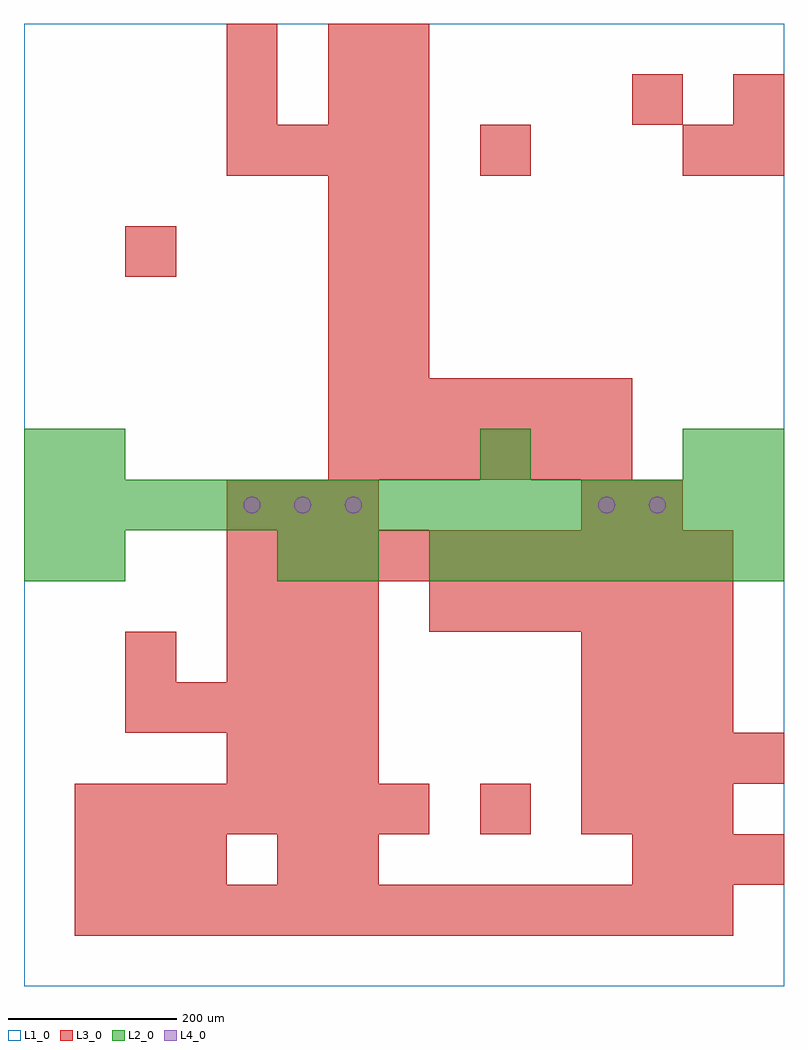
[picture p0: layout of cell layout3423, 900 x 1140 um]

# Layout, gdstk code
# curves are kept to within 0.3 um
import gdstk
lib = gdstk.Library(unit=1e-6, precision=1e-09)
def R(c, l, rs):  # rectangles x0, y0, x1, y1
    for r in rs: c.add(gdstk.rectangle(r[:2], r[2:], *l))
def A(c, l, x, y, w, h, nx, ny, dx, dy):  # array of equal rectangles
    R(c, l, [(x+i*dx, y+j*dy, x+i*dx+w, y+j*dy+h) for i in range(nx) for j in range(ny)])
def P(c, l, *ps):  # polygons
    for p in ps: c.add(gdstk.Polygon(p, *l))
L1_0 = (1, 0)
L2_0 = (2, 0)
L3_0 = (3, 0)
L4_0 = (4, 0)

layout3423 = lib.new_cell('layout3423')
R(layout3423, L1_0, [(0,0,900,1140)])
A(layout3423, L2_0, 480, 480, 60, 60, 7, 1, 60, 0)
A(layout3423, L2_0, 0, 540, 60, 60, 15, 1, 60, 0)
R(layout3423, L2_0, [(0,480,60,540), (60,480,120,540), (300,480,360,540), (360,480,420,540), (0,600,60,660), (60,600,120,660), (540,600,600,660), (780,600,840,660), (840,600,900,660)])
A(layout3423, L3_0, 60, 60, 60, 60, 13, 1, 60, 0)
A(layout3423, L3_0, 60, 120, 60, 60, 3, 1, 60, 0)
A(layout3423, L3_0, 720, 120, 60, 60, 3, 1, 60, 0)
A(layout3423, L3_0, 60, 180, 60, 60, 7, 1, 60, 0)
A(layout3423, L3_0, 660, 180, 60, 60, 3, 2, 60, 120)
A(layout3423, L3_0, 240, 240, 60, 60, 3, 2, 60, 120)
A(layout3423, L3_0, 660, 240, 60, 60, 4, 1, 60, 0)
A(layout3423, L3_0, 120, 300, 60, 60, 5, 1, 60, 0)
A(layout3423, L3_0, 660, 360, 60, 60, 3, 1, 60, 0)
A(layout3423, L3_0, 240, 420, 60, 60, 3, 2, 60, 120)
A(layout3423, L3_0, 480, 420, 60, 60, 6, 1, 60, 0)
A(layout3423, L3_0, 240, 480, 60, 60, 10, 1, 60, 0)
A(layout3423, L3_0, 360, 600, 60, 60, 6, 2, 60, 60)
A(layout3423, L3_0, 360, 720, 60, 60, 1, 4, 0, 60)
A(layout3423, L3_0, 420, 720, 60, 60, 1, 4, 0, 60)
A(layout3423, L3_0, 240, 960, 60, 60, 4, 1, 60, 0)
R(layout3423, L3_0, [(300,120,360,180), (360,120,420,180), (540,180,600,240), (120,360,180,420), (660,540,720,600), (720,540,780,600), (120,840,180,900), (540,960,600,1020), (780,960,840,1020), (840,960,900,1020), (240,1020,300,1080), (360,1020,420,1080), (420,1020,480,1080), (720,1020,780,1080), (840,1020,900,1080), (240,1080,300,1140), (360,1080,420,1140), (420,1080,480,1140)])
P(layout3423, L4_0, [(280,570),(279.239,573.827),(277.071,577.071),(273.827,579.239),(270,580),(266.173,579.239),(262.929,577.071),(260.761,573.827),(260,570),(260.761,566.173),(262.929,562.929),(266.173,560.761),(270,560),(273.827,560.761),(277.071,562.929),(279.239,566.173)],
  [(340,570),(339.239,573.827),(337.071,577.071),(333.827,579.239),(330,580),(326.173,579.239),(322.929,577.071),(320.761,573.827),(320,570),(320.761,566.173),(322.929,562.929),(326.173,560.761),(330,560),(333.827,560.761),(337.071,562.929),(339.239,566.173)],
  [(400,570),(399.239,573.827),(397.071,577.071),(393.827,579.239),(390,580),(386.173,579.239),(382.929,577.071),(380.761,573.827),(380,570),(380.761,566.173),(382.929,562.929),(386.173,560.761),(390,560),(393.827,560.761),(397.071,562.929),(399.239,566.173)],
  [(700,570),(699.239,573.827),(697.071,577.071),(693.827,579.239),(690,580),(686.173,579.239),(682.929,577.071),(680.761,573.827),(680,570),(680.761,566.173),(682.929,562.929),(686.173,560.761),(690,560),(693.827,560.761),(697.071,562.929),(699.239,566.173)],
  [(760,570),(759.239,573.827),(757.071,577.071),(753.827,579.239),(750,580),(746.173,579.239),(742.929,577.071),(740.761,573.827),(740,570),(740.761,566.173),(742.929,562.929),(746.173,560.761),(750,560),(753.827,560.761),(757.071,562.929),(759.239,566.173)])

lib.write_gds('layout3423.gds')
